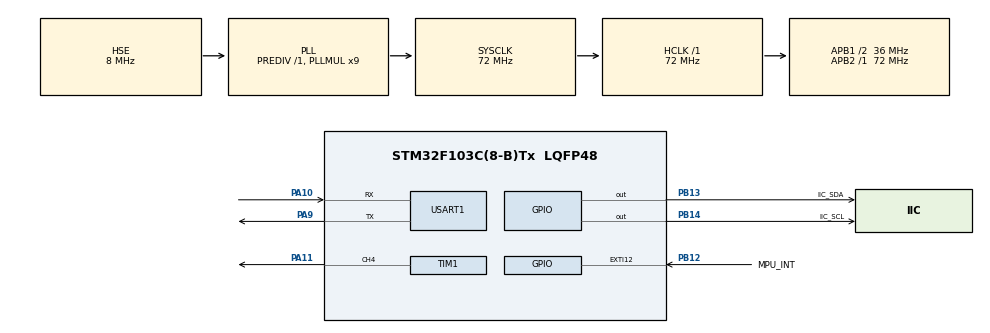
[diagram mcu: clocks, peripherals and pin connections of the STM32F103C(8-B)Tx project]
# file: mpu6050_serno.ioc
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FREERTOS.Queues01=mpu6050_data,1,uint8_t,0,Dynamic,NULL,NULL
FREERTOS.Tasks01=mpu6050_task,26,128,MPU6050Task,Default,NULL,Dynamic,NULL,NULL;serno_task,25,128,SERNO_TASK,Default,NULL,Dynamic,NULL,NULL;usart_task,24,128,USART_TASK,Default,NULL,Dynamic,NULL,NULL
FREERTOS.configUSE_IDLE_HOOK=1
FREERTOS.configUSE_TICK_HOOK=1
Mcu.Family=STM32F1
Mcu.Name=STM32F103C(8-B)Tx
Mcu.Package=LQFP48
NVIC.EXTI15_10_IRQn=true\:5\:0\:true\:false\:true\:true\:true\:true\:true
NVIC.PriorityGroup=NVIC_PRIORITYGROUP_4
NVIC.TIM4_IRQn=true\:15\:0\:false\:false\:true\:false\:false\:true\:true
NVIC.TimeBase=TIM4_IRQn
NVIC.TimeBaseIP=TIM4
NVIC.USART1_IRQn=true\:5\:0\:false\:false\:true\:true\:true\:true\:true
PA10.Mode=Asynchronous
PA10.Signal=USART1_RX
PA11.Signal=S_TIM1_CH4
PA13.Mode=Serial_Wire
PA13.Signal=SYS_JTMS-SWDIO
PA14.Mode=Serial_Wire
PA14.Signal=SYS_JTCK-SWCLK
PA9.Mode=Asynchronous
PA9.Signal=USART1_TX
PB12.GPIO_Label=MPU_INT
PB12.GPIO_ModeDefaultEXTI=GPIO_MODE_IT_FALLING
PB12.Signal=GPXTI12
PB13.GPIO_Label=IIC_SDA
PB13.GPIO_ModeDefaultOutputPP=GPIO_MODE_OUTPUT_OD
PB13.GPIO_PuPd=GPIO_NOPULL
PB13.GPIO_Speed=GPIO_SPEED_FREQ_HIGH
PB13.Signal=GPIO_Output
PB14.GPIO_Label=IIC_SCL
PB14.GPIO_ModeDefaultOutputPP=GPIO_MODE_OUTPUT_OD
PB14.GPIO_PuPd=GPIO_NOPULL
PB14.GPIO_Speed=GPIO_SPEED_FREQ_HIGH
PB14.Signal=GPIO_Output
PD0-OSC_IN.Mode=HSE-External-Oscillator
PD0-OSC_IN.Signal=RCC_OSC_IN
PD1-OSC_OUT.Mode=HSE-External-Oscillator
PD1-OSC_OUT.Signal=RCC_OSC_OUT
ProjectManager.HeapSize=0x200
ProjectManager.StackSize=0x400
ProjectManager.TargetToolchain=MDK-ARM V5.32
RCC.AHBFreq_Value=72000000
RCC.APB1CLKDivider=RCC_HCLK_DIV2
RCC.APB1Freq_Value=36000000
RCC.APB1TimFreq_Value=72000000
RCC.APB2Freq_Value=72000000
RCC.APB2TimFreq_Value=72000000
RCC.HCLKFreq_Value=72000000
RCC.PLLMUL=RCC_PLL_MUL9
RCC.PLLSourceVirtual=RCC_PLLSOURCE_HSE
RCC.SYSCLKFreq_VALUE=72000000
RCC.SYSCLKSource=RCC_SYSCLKSOURCE_PLLCLK
RCC.USBFreq_Value=72000000
SH.S_TIM1_CH4.0=TIM1_CH4,PWM Generation4 CH4
TIM1.AutoReloadPreload=TIM_AUTORELOAD_PRELOAD_ENABLE
TIM1.Channel-PWM\ Generation4\ CH4=TIM_CHANNEL_4
TIM1.Period=1999
TIM1.Prescaler=719
USART1.VirtualMode=VM_ASYNC
VP_FREERTOS_VS_CMSIS_V2.Mode=CMSIS_V2
VP_SYS_VS_tim4.Mode=TIM4
VP_TIM1_VS_ClockSourceINT.Mode=Internal
board=custom

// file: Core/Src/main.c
/* USER CODE BEGIN Header */
/**
  ******************************************************************************
  * @file           : main.c
  * @brief          : Main program body
  ******************************************************************************
  * @attention
  *
  * Copyright (c) 2025 STMicroelectronics.
  * All rights reserved.
  *
  * This software is licensed under terms that can be found in the LICENSE file
  * in the root directory of this software component.
  * If no LICENSE file comes with this software, it is provided AS-IS.
  *
  ******************************************************************************
  */
/* USER CODE END Header */
#include "main.h"
#include "cmsis_os.h"
#include "tim.h"
#include "usart.h"
#include "gpio.h"

/* USER CODE BEGIN Includes */
#include "mpu6050.h"
#include "inv_mpu.h"
#include "inv_mpu_dmp_motion_driver.h"
/* USER CODE END Includes */

void SystemClock_Config(void);
void MX_FREERTOS_Init(void);

int main(void)
{

  /* MCU Configuration--------------------------------------------------------*/

  /* Reset of all peripherals, Initializes the Flash interface and the Systick. */
  HAL_Init();

  /* Configure the system clock */
  SystemClock_Config();

  /* Initialize all configured peripherals */
  MX_GPIO_Init();
  MX_TIM1_Init();
  MX_USART1_UART_Init();
  /* USER CODE BEGIN 2 */
  delay_init();
  HAL_TIM_PWM_Start(&htim1,TIM_CHANNEL_4);
  /* USER CODE END 2 */

  /* Init scheduler */
  osKernelInitialize();

  /* Call init function for freertos objects (in cmsis_os2.c) */
  MX_FREERTOS_Init();

  /* Start scheduler */
  osKernelStart();

  /* We should never get here as control is now taken by the scheduler */

  /* Infinite loop */
  while (1)
  {

  }
}

void SystemClock_Config(void)
{
  RCC_OscInitTypeDef RCC_OscInitStruct = {0};
  RCC_ClkInitTypeDef RCC_ClkInitStruct = {0};

  /** Initializes the RCC Oscillators according to the specified parameters
  * in the RCC_OscInitTypeDef structure.
  */
  RCC_OscInitStruct.OscillatorType = RCC_OSCILLATORTYPE_HSE;
  RCC_OscInitStruct.HSEState = RCC_HSE_ON;
  RCC_OscInitStruct.HSEPredivValue = RCC_HSE_PREDIV_DIV1;
  RCC_OscInitStruct.HSIState = RCC_HSI_ON;
  RCC_OscInitStruct.PLL.PLLState = RCC_PLL_ON;
  RCC_OscInitStruct.PLL.PLLSource = RCC_PLLSOURCE_HSE;
  RCC_OscInitStruct.PLL.PLLMUL = RCC_PLL_MUL9;
  if (HAL_RCC_OscConfig(&RCC_OscInitStruct) != HAL_OK)
  {
    Error_Handler();
  }

  /** Initializes the CPU, AHB and APB buses clocks
  */
  RCC_ClkInitStruct.ClockType = RCC_CLOCKTYPE_HCLK|RCC_CLOCKTYPE_SYSCLK
                              |RCC_CLOCKTYPE_PCLK1|RCC_CLOCKTYPE_PCLK2;
  RCC_ClkInitStruct.SYSCLKSource = RCC_SYSCLKSOURCE_PLLCLK;
  RCC_ClkInitStruct.AHBCLKDivider = RCC_SYSCLK_DIV1;
  RCC_ClkInitStruct.APB1CLKDivider = RCC_HCLK_DIV2;
  RCC_ClkInitStruct.APB2CLKDivider = RCC_HCLK_DIV1;

  if (HAL_RCC_ClockConfig(&RCC_ClkInitStruct, FLASH_LATENCY_2) != HAL_OK)
  {
    Error_Handler();
  }
}

/* USER CODE BEGIN 4 */
int fputc(int ch, FILE *f)
{
  HAL_UART_Transmit(&huart1, (uint8_t *)&ch, 1, 0xffff);
  return ch;
}
/* USER CODE END 4 */

void HAL_TIM_PeriodElapsedCallback(TIM_HandleTypeDef *htim)
{
  if (htim->Instance == TIM4) {
    HAL_IncTick();
  }
}

void Error_Handler(void)
{
  __disable_irq();
  while (1)
  {
  }
}

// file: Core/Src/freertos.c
/* USER CODE BEGIN Header */
/**
  ******************************************************************************
  * File Name          : freertos.c
  * Description        : Code for freertos applications
  ******************************************************************************
  * @attention
  *
  * Copyright (c) 2025 STMicroelectronics.
  * All rights reserved.
  *
  * This software is licensed under terms that can be found in the LICENSE file
  * in the root directory of this software component.
  * If no LICENSE file comes with this software, it is provided AS-IS.
  *
  ******************************************************************************
  */
/* USER CODE END Header */

#include "FreeRTOS.h"
#include "task.h"
#include "main.h"
#include "cmsis_os.h"

/* USER CODE BEGIN Includes */
#include "tim.h"
#include "mpu6050.h"
#include "inv_mpu.h"
#include "inv_mpu_dmp_motion_driver.h"
/* USER CODE END Includes */

/* USER CODE BEGIN PTD */
typedef struct {
  float pitch;
  float roll;
  float yaw;
} MPU6050_Data_t;

/* USER CODE END PTD */

/* USER CODE BEGIN PM */
static void Servo_Control(uint16_t angle)
{
    float temp;
    temp =  50.0 + ((float)angle * 200.0 / 180.0);
    __HAL_TIM_SET_COMPARE(&htim1, TIM_CHANNEL_4, (uint16_t)temp);
}
/* USER CODE END PM */

/* Definitions for mpu6050_task */
osThreadId_t mpu6050_taskHandle;
const osThreadAttr_t mpu6050_task_attributes = {
  .name = "mpu6050_task",
  .stack_size = 128 * 4,
  .priority = (osPriority_t) osPriorityNormal2,
};
/* Definitions for serno_task */
osThreadId_t serno_taskHandle;
const osThreadAttr_t serno_task_attributes = {
  .name = "serno_task",
  .stack_size = 128 * 4,
  .priority = (osPriority_t) osPriorityNormal1,
};
/* Definitions for usart_task */
osThreadId_t usart_taskHandle;
const osThreadAttr_t usart_task_attributes = {
  .name = "usart_task",
  .stack_size = 128 * 4,
  .priority = (osPriority_t) osPriorityNormal,
};
/* Definitions for mpu6050_data */
osMessageQueueId_t mpu6050_dataHandle;
const osMessageQueueAttr_t mpu6050_data_attributes = {
  .name = "mpu6050_data"
};

/* USER CODE BEGIN FunctionPrototypes */
void HAL_GPIO_EXTI_Callback(uint16_t GPIO_Pin)
{

}
/* USER CODE END FunctionPrototypes */

void MPU6050Task(void *argument);
void SERNO_TASK(void *argument);
void USART_TASK(void *argument);

void MX_FREERTOS_Init(void); /* (MISRA C 2004 rule 8.1) */

/* Hook prototypes */
void vApplicationIdleHook(void);
void vApplicationTickHook(void);

/* USER CODE BEGIN 2 */
void vApplicationIdleHook( void )
{
   /* vApplicationIdleHook() will only be called if configUSE_IDLE_HOOK is set
   to 1 in FreeRTOSConfig.h. It will be called on each iteration of the idle
   task. It is essential that code added to this hook function never attempts
   to block in any way (for example, call xQueueReceive() with a block time
   specified, or call vTaskDelay()). If the application makes use of the
   vTaskDelete() API function (as this demo application does) then it is also
   important that vApplicationIdleHook() is permitted to return to its calling
   function, because it is the responsibility of the idle task to clean up
   memory allocated by the kernel to any task that has since been deleted. */
}
/* USER CODE END 2 */

/* USER CODE BEGIN 3 */
void vApplicationTickHook( void )
{
   /* This function will be called by each tick interrupt if
   configUSE_TICK_HOOK is set to 1 in FreeRTOSConfig.h. User code can be
   added here, but the tick hook is called from an interrupt context, so
   code must not attempt to block, and only the interrupt safe FreeRTOS API
   functions can be used (those that end in FromISR()). */
}
/* USER CODE END 3 */

void MX_FREERTOS_Init(void) {
  /* USER CODE BEGIN Init */
	MPU_Init();
	mpu_dmp_init();
  /* USER CODE END Init */

  /* Create the queue(s) */
  /* creation of mpu6050_data */
  mpu6050_dataHandle = osMessageQueueNew (10, sizeof(MPU6050_Data_t), &mpu6050_data_attributes);

  /* Create the thread(s) */
  /* creation of mpu6050_task */
  mpu6050_taskHandle = osThreadNew(MPU6050Task, NULL, &mpu6050_task_attributes);

  /* creation of serno_task */
  serno_taskHandle = osThreadNew(SERNO_TASK, NULL, &serno_task_attributes);

  /* creation of usart_task */
  usart_taskHandle = osThreadNew(USART_TASK, NULL, &usart_task_attributes);

}

void MPU6050Task(void *argument)
{
  /* USER CODE BEGIN MPU6050Task */
  float pitch,roll,yaw;
  uint8_t result;
  MPU6050_Data_t mpu6050_data;

  /* Infinite loop */
  for(;;)
  {
    result = mpu_dmp_get_data(&pitch,&roll,&yaw);
    if(result == 0){
    mpu6050_data.pitch = pitch;
    mpu6050_data.roll = roll;
    mpu6050_data.yaw = yaw;
    osMessageQueuePut(mpu6050_dataHandle,&mpu6050_data,0,0);
    }else
    {
      printf("mpu_dmp_get_data error :%d\r\n",result);
    }
    osDelay(5);
  }
  /* USER CODE END MPU6050Task */
}

void SERNO_TASK(void *argument)
{
  /* USER CODE BEGIN SERNO_TASK */
  uint16_t angle = 90;
  int8_t direction = -1; // 1表示增加角度，-1表示减少角度
  uint16_t step = 5;   // 角度步进值
  const uint16_t delay_servo = 25; // 每步延时

  /* Infinite loop */
  for(;;)
  {
    Servo_Control(angle);
    osDelay(delay_servo);
    uint16_t new_angle = angle + direction * step;
    if(new_angle >= 180) {
      new_angle = 180;
      direction = -1;
      osDelay(100);
    } else if(new_angle <= 0) {
      new_angle = 0;
      direction = 1;
      osDelay(100);
    }
   angle = new_angle;
  }
  /* USER CODE END SERNO_TASK */
}

void USART_TASK(void *argument)
{
  /* USER CODE BEGIN USART_TASK */
  MPU6050_Data_t mpu6050_data;
  osStatus_t status;
  uint32_t msg_count = 0;

  /* Infinite loop */
  for(;;)
  {
    status = osMessageQueueGet(mpu6050_dataHandle, &mpu6050_data, 0, osWaitForever);
    if(status == osOK) {
      printf("msg[%lu] pitch:%.2f,roll:%.2f,yaw:%.2f\n",
             msg_count++, mpu6050_data.pitch, mpu6050_data.roll, mpu6050_data.yaw);
    } else {
      printf("Error getting message from queue: %d\n", status);
    }
    osDelay(10);
  }
  /* USER CODE END USART_TASK */
}
